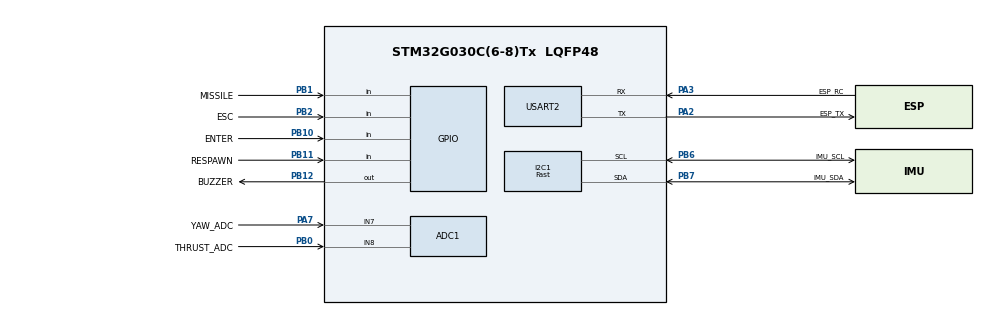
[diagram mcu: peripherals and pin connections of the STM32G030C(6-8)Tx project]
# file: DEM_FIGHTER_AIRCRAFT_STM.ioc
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ADC1.Channel-0\#ChannelRegularConversion=ADC_CHANNEL_7
ADC1.Channel-3\#ChannelRegularConversion=ADC_CHANNEL_8
ADC1.ClockPrescaler=ADC_CLOCK_SYNC_PCLK_DIV4
ADC1.NbrOfConversion=2
ADC1.NbrOfConversionFlag=1
ADC1.Rank-0\#ChannelRegularConversion=1
ADC1.Rank-3\#ChannelRegularConversion=2
ADC1.SamplingTime-0\#ChannelRegularConversion=ADC_SAMPLINGTIME_COMMON_1
ADC1.SamplingTime-3\#ChannelRegularConversion=ADC_SAMPLINGTIME_COMMON_1
ADC1.SamplingTimeCommon1=ADC_SAMPLETIME_79CYCLES_5
ADC1.SamplingTimeCommon2=ADC_SAMPLETIME_160CYCLES_5
ADC1.SelectedChannel=ADC_CHANNEL_7|ADC_CHANNEL_8
ADC1.master=1
FREERTOS.Tasks01=UARTTask,24,128,StartUARTTask,Default,NULL,Dynamic,NULL,NULL;SensorTask,32,128,StartSensorTask,Default,NULL,Dynamic,NULL,NULL
FREERTOS.configTOTAL_HEAP_SIZE=2048
FREERTOS.configUSE_NEWLIB_REENTRANT=1
I2C1.I2C_Speed_Mode=I2C_Fast
I2C1.Timing=0x00C12166
Mcu.Family=STM32G0
Mcu.Name=STM32G030C(6-8)Tx
Mcu.Package=LQFP48
NVIC.TIM16_IRQn=true\:3\:0\:false\:false\:true\:false\:false\:true\:true
NVIC.TimeBase=TIM16_IRQn
NVIC.TimeBaseIP=TIM16
PA13.Mode=Serial_Wire
PA13.Signal=SYS_SWDIO
PA14-BOOT0.Mode=Serial_Wire
PA14-BOOT0.Signal=SYS_SWCLK
PA2.GPIO_Label=ESP_TX
PA2.Mode=Asynchronous
PA2.Signal=USART2_TX
PA3.GPIO_Label=ESP_RC
PA3.Mode=Asynchronous
PA3.Signal=USART2_RX
PA7.GPIO_Label=YAW_ADC
PA7.Mode=IN7
PA7.Signal=ADC1_IN7
PB0.GPIO_Label=THRUST_ADC
PB0.Mode=IN8
PB0.Signal=ADC1_IN8
PB1.GPIO_Label=MISSILE
PB1.GPIO_PuPd=GPIO_PULLUP
PB1.Signal=GPIO_Input
PB10.GPIO_Label=ENTER
PB10.GPIO_PuPd=GPIO_PULLUP
PB10.Signal=GPIO_Input
PB11.GPIO_Label=RESPAWN
PB11.GPIO_PuPd=GPIO_PULLUP
PB11.Signal=GPIO_Input
PB12.GPIO_Label=BUZZER
PB12.Signal=GPIO_Output
PB2.GPIO_Label=ESC
PB2.GPIO_PuPd=GPIO_PULLUP
PB2.Signal=GPIO_Input
PB6.GPIO_Label=IMU_SCL
PB6.Mode=I2C
PB6.Signal=I2C1_SCL
PB7.GPIO_Label=IMU_SDA
PB7.Mode=I2C
PB7.Signal=I2C1_SDA
PF0-OSC_IN\ (PF0).Mode=HSE-External-Oscillator
PF0-OSC_IN\ (PF0).Signal=RCC_OSC_IN
PF1-OSC_OUT\ (PF1).Mode=HSE-External-Oscillator
PF1-OSC_OUT\ (PF1).Signal=RCC_OSC_OUT
ProjectManager.HeapSize=0x200
ProjectManager.StackSize=0x400
ProjectManager.TargetToolchain=STM32CubeIDE
RCC.ADCFreq_Value=64000000
RCC.AHBFreq_Value=64000000
RCC.CortexFreq_Value=64000000
RCC.EXTERNAL_CLOCK_VALUE=12288000
RCC.HCLKFreq_Value=64000000
RCC.HSE_VALUE=8000000
RCC.HSI_VALUE=16000000
RCC.LSE_VALUE=32768
RCC.SYSCLKFreq_VALUE=64000000
RCC.SYSCLKSource=RCC_SYSCLKSOURCE_PLLCLK
RCC.VCOOutputFreq_Value=128000000
USART2.VirtualMode-Asynchronous=VM_ASYNC
VP_FREERTOS_VS_CMSIS_V2.Mode=CMSIS_V2
VP_SYS_VS_tim16.Mode=TIM16
board=custom

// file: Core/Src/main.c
/* USER CODE BEGIN Header */
/**
  ******************************************************************************
  * @file           : main.c
  * @brief          : Flight Controller / Telemetry Transmitter Main Body
  * @project        : STM32 Drone/Simulator Controller
  * @author         : hrnkrc
  * @date           : December 2025
  * @description    : Implements a FreeRTOS-based Flight Control System.
  * - IMU Processing: LIS2DW12 (Accelerometer) for Pitch/Roll detection.
  * - Analog Input: ADC DMA/Polling for Yaw and Throttle control.
  * - Telemetry: 20Hz UART stream to ESP32/PC ($P,R,Y,T...).
  * - OS: CMSIS-RTOS V2 (FreeRTOS).
  ******************************************************************************
  */
/* USER CODE END Header */
#include "main.h"
#include "cmsis_os.h"

/* USER CODE BEGIN Includes */
#include "lis2dw12_reg.h"  // IMU Driver
#include <stdio.h>
#include <string.h>
#include <math.h>
/* USER CODE END Includes */

/* USER CODE BEGIN PTD */
/**
 * @brief Flight Control Data Structure
 * Encapsulates the state of all aircraft controls to be transmitted via telemetry.
 */
typedef struct {
	int8_t pitch_cmd; /*!< 0: Neutral, 1: Nose Down (W), 2: Nose Up (S) */
	int8_t roll_cmd; /*!< 0: Neutral, 1: Bank Left (A), 2: Bank Right (D) */
	int8_t yaw_cmd; /*!< 0: Neutral, 1: Rudder Left (Q), 2: Rudder Right (E) */
	int8_t throttle_cmd; /*!< 0: Hold, 1: Increase (Shift), 2: Decrease (Ctrl) */
	uint8_t btn_space; /*!< 1: Active, 0: Inactive */
	uint8_t btn_esc; /*!< 1: Active, 0: Inactive */
	uint8_t btn_respawn; /*!< 1: Active, 0: Inactive */
	uint8_t btn_enter; /*!< 1: Active, 0: Inactive */
} FlightControlState_t;
/* USER CODE END PTD */

/* USER CODE BEGIN PD */
/* * I2C Address: 0x19 (Standard) shifted left by 1 for LL API.
 * If sensor doesn't work, try (0x18U << 1).
 */
#define SENSOR_I2C_ADDR  (0x19U << 1)
#define I2C_TIMEOUT      10000        // Timeout counter to prevent freezing
/* USER CODE END PD */

/* Definitions for UARTTask */
osThreadId_t UARTTaskHandle;
const osThreadAttr_t UARTTask_attributes = {
  .name = "UARTTask",
  .priority = (osPriority_t) osPriorityNormal,
  .stack_size = 128 * 4
};
/* Definitions for SensorTask */
osThreadId_t SensorTaskHandle;
const osThreadAttr_t SensorTask_attributes = {
  .name = "SensorTask",
  .priority = (osPriority_t) osPriorityAboveNormal,
  .stack_size = 128 * 4
};
/* USER CODE BEGIN PV */
FlightControlState_t flightControlState; /* Global State to be sent to ESP32 */
stmdev_ctx_t imu_ctx; /* IMU Driver Context */
static int16_t imu_raw_data[3]; /* Raw Acceleration Data */
static uint8_t sensor_id; /* Chip ID for verification */
uint16_t val_yaw, val_thr;
/* USER CODE END PV */

void SystemClock_Config(void);
static void MX_GPIO_Init(void);
static void MX_ADC1_Init(void);
static void MX_I2C1_Init(void);
static void MX_USART2_UART_Init(void);
void StartUARTTask(void *argument);
void StartSensorTask(void *argument);

/* USER CODE BEGIN PFP */
/* Safe Low-Layer Driver Wrappers */
int32_t Platform_I2C_Write(void *handle, uint8_t reg, const uint8_t *bufp,
		uint16_t len);
int32_t Platform_I2C_Read(void *handle, uint8_t reg, uint8_t *bufp,
		uint16_t len);
uint16_t Platform_ADC_Read(ADC_TypeDef *ADCx, uint32_t Channel);

/* Helper */
int Fast_IntToStr(char *buf, int value);
/* USER CODE END PFP */

/* USER CODE BEGIN 0 */
/**
 * @brief Robust I2C Write with Timeout.
 * Returns -1 if hardware freezes, preventing system watchdog reset.
 */
int32_t Platform_I2C_Write(void *handle, uint8_t reg, const uint8_t *bufp, uint16_t len) {
    I2C_TypeDef *I2Cx = (I2C_TypeDef*) handle;
    uint32_t timeout = I2C_TIMEOUT;

    LL_I2C_HandleTransfer(I2Cx, SENSOR_I2C_ADDR, LL_I2C_ADDRSLAVE_7BIT, len + 1,
            LL_I2C_MODE_AUTOEND, LL_I2C_GENERATE_START_WRITE);

    while (!LL_I2C_IsActiveFlag_TXIS(I2Cx)) {
        if (timeout-- == 0) return -1;
    }
    LL_I2C_TransmitData8(I2Cx, reg);

    for (uint16_t i = 0; i < len; i++) {
        timeout = I2C_TIMEOUT;
        while (!LL_I2C_IsActiveFlag_TXIS(I2Cx)) {
            if (timeout-- == 0) return -1;
        }
        LL_I2C_TransmitData8(I2Cx, bufp[i]);
    }

    timeout = I2C_TIMEOUT;
    while (!LL_I2C_IsActiveFlag_STOP(I2Cx)) {
        if (timeout-- == 0) return -1;
    }
    LL_I2C_ClearFlag_STOP(I2Cx);
    return 0;
}

/**
 * @brief Robust I2C Read with Timeout.
 */
int32_t Platform_I2C_Read(void *handle, uint8_t reg, uint8_t *bufp, uint16_t len) {
    I2C_TypeDef *I2Cx = (I2C_TypeDef*) handle;
    uint32_t timeout = I2C_TIMEOUT;

    LL_I2C_HandleTransfer(I2Cx, SENSOR_I2C_ADDR, LL_I2C_ADDRSLAVE_7BIT, 1,
            LL_I2C_MODE_SOFTEND, LL_I2C_GENERATE_START_WRITE);

    while (!LL_I2C_IsActiveFlag_TXIS(I2Cx)) {
        if (timeout-- == 0) return -1;
    }
    LL_I2C_TransmitData8(I2Cx, reg);

    while (!LL_I2C_IsActiveFlag_TC(I2Cx)) {
        if (timeout-- == 0) return -1;
    }

    LL_I2C_HandleTransfer(I2Cx, SENSOR_I2C_ADDR, LL_I2C_ADDRSLAVE_7BIT, len,
            LL_I2C_MODE_AUTOEND, LL_I2C_GENERATE_START_READ);

    for (uint16_t i = 0; i < len; i++) {
        timeout = I2C_TIMEOUT;
        while (!LL_I2C_IsActiveFlag_RXNE(I2Cx)) {
            if (timeout-- == 0) return -1;
        }
        bufp[i] = LL_I2C_ReceiveData8(I2Cx);
    }

    timeout = I2C_TIMEOUT;
    while (!LL_I2C_IsActiveFlag_STOP(I2Cx)) {
        if (timeout-- == 0) return -1;
    }
    LL_I2C_ClearFlag_STOP(I2Cx);
    return 0;
}

/**
 * @brief Reads all configured ADC channels sequentially.
 * Sequence: Rank 1: Yaw (Ch 7) -> Rank 2: Thrust (Ch 8)
 */
void Update_ADC_Values(void) {
    /* 1. Start Conversion (Sequencer automatically starts from Rank 1) */
    LL_ADC_REG_StartConversion(ADC1);

    /* 2. Wait and read Rank 1 (Yaw) */
    while (!LL_ADC_IsActiveFlag_EOC(ADC1));
    val_yaw = LL_ADC_REG_ReadConversionData12(ADC1); /* EOC flag is cleared upon reading */

    /* 3. Wait and read Rank 2 (Thrust) */
    while (!LL_ADC_IsActiveFlag_EOC(ADC1));
    val_thr = LL_ADC_REG_ReadConversionData12(ADC1);

    /* 4. Ensure the Sequence is fully complete (Optional but safe) */
    while (!LL_ADC_IsActiveFlag_EOS(ADC1));
    LL_ADC_ClearFlag_EOS(ADC1);
}

/* Fast Integer to String Converter (Optimized for Telemetry) */
int Fast_IntToStr(char *buf, int value) {
    char *p = buf;
    if (value < 0) {
        *p++ = '-';
        value = -value;
    }
    char *first = p;
    do {
        int digit = value % 10;
        *p++ = (char) (digit + '0');
        value /= 10;
    } while (value > 0);
    char *last = p - 1;
    while (first < last) {
        char temp = *first;
        *first++ = *last;
        *last-- = temp;
    }
    return (int) (p - buf);
}
/* USER CODE END 0 */

int main(void)
{

  /* MCU Configuration--------------------------------------------------------*/

  /* Reset of all peripherals, Initializes the Flash interface and the Systick. */
  HAL_Init();

  /* Configure the system clock */
  SystemClock_Config();

  /* Initialize all configured peripherals */
  MX_GPIO_Init();
  MX_ADC1_Init();
  MX_I2C1_Init();
  MX_USART2_UART_Init();

  /* Init scheduler */
  osKernelInitialize();

  /* Create the thread(s) */
  /* creation of UARTTask */
  UARTTaskHandle = osThreadNew(StartUARTTask, NULL, &UARTTask_attributes);

  /* creation of SensorTask */
  SensorTaskHandle = osThreadNew(StartSensorTask, NULL, &SensorTask_attributes);

  /* Start scheduler */
  osKernelStart();

  /* We should never get here as control is now taken by the scheduler */

  /* Infinite loop */
	while (1) {

	}
}

void SystemClock_Config(void)
{
  LL_FLASH_SetLatency(LL_FLASH_LATENCY_2);
  while(LL_FLASH_GetLatency() != LL_FLASH_LATENCY_2)
  {
  }

  /* HSI configuration and activation */
  LL_RCC_HSI_Enable();
  while(LL_RCC_HSI_IsReady() != 1)
  {
  }

  /* Main PLL configuration and activation */
  LL_RCC_PLL_ConfigDomain_SYS(LL_RCC_PLLSOURCE_HSI, LL_RCC_PLLM_DIV_1, 8, LL_RCC_PLLR_DIV_2);
  LL_RCC_PLL_Enable();
  LL_RCC_PLL_EnableDomain_SYS();
  while(LL_RCC_PLL_IsReady() != 1)
  {
  }

  /* Set AHB prescaler*/
  LL_RCC_SetAHBPrescaler(LL_RCC_SYSCLK_DIV_1);

  /* Sysclk activation on the main PLL */
  LL_RCC_SetSysClkSource(LL_RCC_SYS_CLKSOURCE_PLL);
  while(LL_RCC_GetSysClkSource() != LL_RCC_SYS_CLKSOURCE_STATUS_PLL)
  {
  }

  /* Set APB1 prescaler*/
  LL_RCC_SetAPB1Prescaler(LL_RCC_APB1_DIV_1);
  /* Update CMSIS variable (which can be updated also through SystemCoreClockUpdate function) */
  LL_SetSystemCoreClock(64000000);

   /* Update the time base */
  if (HAL_InitTick (TICK_INT_PRIORITY) != HAL_OK)
  {
    Error_Handler();
  }
}

static void MX_ADC1_Init(void)
{

  LL_ADC_InitTypeDef ADC_InitStruct = {0};
  LL_ADC_REG_InitTypeDef ADC_REG_InitStruct = {0};

  LL_GPIO_InitTypeDef GPIO_InitStruct = {0};

  /* Peripheral clock enable */
  LL_APB2_GRP1_EnableClock(LL_APB2_GRP1_PERIPH_ADC);

  LL_IOP_GRP1_EnableClock(LL_IOP_GRP1_PERIPH_GPIOA);
  LL_IOP_GRP1_EnableClock(LL_IOP_GRP1_PERIPH_GPIOB);
  /**ADC1 GPIO Configuration
  PA7   ------> ADC1_IN7
  PB0   ------> ADC1_IN8
  */
  GPIO_InitStruct.Pin = YAW_ADC_Pin;
  GPIO_InitStruct.Mode = LL_GPIO_MODE_ANALOG;
  GPIO_InitStruct.Pull = LL_GPIO_PULL_NO;
  LL_GPIO_Init(YAW_ADC_GPIO_Port, &GPIO_InitStruct);

  GPIO_InitStruct.Pin = THRUST_ADC_Pin;
  GPIO_InitStruct.Mode = LL_GPIO_MODE_ANALOG;
  GPIO_InitStruct.Pull = LL_GPIO_PULL_NO;
  LL_GPIO_Init(THRUST_ADC_GPIO_Port, &GPIO_InitStruct);

  /** Configure the global features of the ADC (Clock, Resolution, Data Alignment and number of conversion)
  */

   #define ADC_CHANNEL_CONF_RDY_TIMEOUT_MS ( 1U)
   #if (USE_TIMEOUT == 1)
   uint32_t Timeout ; /* Variable used for Timeout management */
   #endif /* USE_TIMEOUT */

  ADC_InitStruct.Clock = LL_ADC_CLOCK_SYNC_PCLK_DIV2;
  ADC_InitStruct.Resolution = LL_ADC_RESOLUTION_12B;
  ADC_InitStruct.DataAlignment = LL_ADC_DATA_ALIGN_RIGHT;
  ADC_InitStruct.LowPowerMode = LL_ADC_LP_MODE_NONE;
  LL_ADC_Init(ADC1, &ADC_InitStruct);
  LL_ADC_REG_SetSequencerConfigurable(ADC1, LL_ADC_REG_SEQ_CONFIGURABLE);

   /* Poll for ADC channel configuration ready */
   #if (USE_TIMEOUT == 1)
   Timeout = ADC_CHANNEL_CONF_RDY_TIMEOUT_MS;
   #endif /* USE_TIMEOUT */
   while (LL_ADC_IsActiveFlag_CCRDY(ADC1) == 0)
     {
   #if (USE_TIMEOUT == 1)
   /* Check Systick counter flag to decrement the time-out value */
   if (LL_SYSTICK_IsActiveCounterFlag())
     {
   if(Timeout-- == 0)
         {
   Error_Handler();
         }
     }
   #endif /* USE_TIMEOUT */
     }
   /* Clear flag ADC channel configuration ready */
   LL_ADC_ClearFlag_CCRDY(ADC1);
  ADC_REG_InitStruct.TriggerSource = LL_ADC_REG_TRIG_SOFTWARE;
  ADC_REG_InitStruct.SequencerLength = LL_ADC_REG_SEQ_SCAN_ENABLE_2RANKS;
  ADC_REG_InitStruct.SequencerDiscont = LL_ADC_REG_SEQ_DISCONT_DISABLE;
  ADC_REG_InitStruct.ContinuousMode = LL_ADC_REG_CONV_SINGLE;
  ADC_REG_InitStruct.DMATransfer = LL_ADC_REG_DMA_TRANSFER_NONE;
  ADC_REG_InitStruct.Overrun = LL_ADC_REG_OVR_DATA_PRESERVED;
  LL_ADC_REG_Init(ADC1, &ADC_REG_InitStruct);
  LL_ADC_SetOverSamplingScope(ADC1, LL_ADC_OVS_DISABLE);
  LL_ADC_SetTriggerFrequencyMode(ADC1, LL_ADC_CLOCK_FREQ_MODE_HIGH);
  LL_ADC_SetSamplingTimeCommonChannels(ADC1, LL_ADC_SAMPLINGTIME_COMMON_1, LL_ADC_SAMPLINGTIME_39CYCLES_5);
  LL_ADC_SetSamplingTimeCommonChannels(ADC1, LL_ADC_SAMPLINGTIME_COMMON_2, LL_ADC_SAMPLINGTIME_39CYCLES_5);
  LL_ADC_DisableIT_EOC(ADC1);
  LL_ADC_DisableIT_EOS(ADC1);

   /* Enable ADC internal voltage regulator */
   LL_ADC_EnableInternalRegulator(ADC1);
   /* Delay for ADC internal voltage regulator stabilization. */
   /* Compute number of CPU cycles to wait for, from delay in us. */
   /* Note: Variable divided by 2 to compensate partially */
   /* CPU processing cycles (depends on compilation optimization). */
   /* Note: If system core clock frequency is below 200kHz, wait time */
   /* is only a few CPU processing cycles. */
   __IO uint32_t wait_loop_index;
   wait_loop_index = ((LL_ADC_DELAY_INTERNAL_REGUL_STAB_US * (SystemCoreClock / (100000 * 2))) / 10);
   while(wait_loop_index != 0)
     {
   wait_loop_index--;
     }

  /** Configure Regular Channel
  */
  LL_ADC_REG_SetSequencerRanks(ADC1, LL_ADC_REG_RANK_1, LL_ADC_CHANNEL_7);

   /* Poll for ADC channel configuration ready */
   #if (USE_TIMEOUT == 1)
   Timeout = ADC_CHANNEL_CONF_RDY_TIMEOUT_MS;
   #endif /* USE_TIMEOUT */
   while (LL_ADC_IsActiveFlag_CCRDY(ADC1) == 0)
     {
   #if (USE_TIMEOUT == 1)
   /* Check Systick counter flag to decrement the time-out value */
   if (LL_SYSTICK_IsActiveCounterFlag())
     {
   if(Timeout-- == 0)
         {
   Error_Handler();
         }
     }
   #endif /* USE_TIMEOUT */
     }
   /* Clear flag ADC channel configuration ready */
   LL_ADC_ClearFlag_CCRDY(ADC1);
  LL_ADC_SetChannelSamplingTime(ADC1, LL_ADC_CHANNEL_7, LL_ADC_SAMPLINGTIME_COMMON_1);

  /** Configure Regular Channel
  */
  LL_ADC_REG_SetSequencerRanks(ADC1, LL_ADC_REG_RANK_2, LL_ADC_CHANNEL_8);

   /* Poll for ADC channel configuration ready */
   #if (USE_TIMEOUT == 1)
   Timeout = ADC_CHANNEL_CONF_RDY_TIMEOUT_MS;
   #endif /* USE_TIMEOUT */
   while (LL_ADC_IsActiveFlag_CCRDY(ADC1) == 0)
     {
   #if (USE_TIMEOUT == 1)
   /* Check Systick counter flag to decrement the time-out value */
   if (LL_SYSTICK_IsActiveCounterFlag())
     {
   if(Timeout-- == 0)
         {
   Error_Handler();
         }
     }
   #endif /* USE_TIMEOUT */
     }
   /* Clear flag ADC channel configuration ready */
   LL_ADC_ClearFlag_CCRDY(ADC1);
  LL_ADC_SetChannelSamplingTime(ADC1, LL_ADC_CHANNEL_8, LL_ADC_SAMPLINGTIME_COMMON_1);

}

static void MX_I2C1_Init(void)
{

  LL_I2C_InitTypeDef I2C_InitStruct = {0};

  LL_GPIO_InitTypeDef GPIO_InitStruct = {0};

  LL_RCC_SetI2CClockSource(LL_RCC_I2C1_CLKSOURCE_PCLK1);

  LL_IOP_GRP1_EnableClock(LL_IOP_GRP1_PERIPH_GPIOB);
  /**I2C1 GPIO Configuration
  PB6   ------> I2C1_SCL
  PB7   ------> I2C1_SDA
  */
  GPIO_InitStruct.Pin = IMU_SCL_Pin;
  GPIO_InitStruct.Mode = LL_GPIO_MODE_ALTERNATE;
  GPIO_InitStruct.Speed = LL_GPIO_SPEED_FREQ_LOW;
  GPIO_InitStruct.OutputType = LL_GPIO_OUTPUT_OPENDRAIN;
  GPIO_InitStruct.Pull = LL_GPIO_PULL_NO;
  GPIO_InitStruct.Alternate = LL_GPIO_AF_6;
  LL_GPIO_Init(IMU_SCL_GPIO_Port, &GPIO_InitStruct);

  GPIO_InitStruct.Pin = IMU_SDA_Pin;
  GPIO_InitStruct.Mode = LL_GPIO_MODE_ALTERNATE;
  GPIO_InitStruct.Speed = LL_GPIO_SPEED_FREQ_LOW;
  GPIO_InitStruct.OutputType = LL_GPIO_OUTPUT_OPENDRAIN;
  GPIO_InitStruct.Pull = LL_GPIO_PULL_NO;
  GPIO_InitStruct.Alternate = LL_GPIO_AF_6;
  LL_GPIO_Init(IMU_SDA_GPIO_Port, &GPIO_InitStruct);

  /* Peripheral clock enable */
  LL_APB1_GRP1_EnableClock(LL_APB1_GRP1_PERIPH_I2C1);

  /** I2C Initialization
  */
  I2C_InitStruct.PeripheralMode = LL_I2C_MODE_I2C;
  I2C_InitStruct.Timing = 0x00C12166;
  I2C_InitStruct.AnalogFilter = LL_I2C_ANALOGFILTER_ENABLE;
  I2C_InitStruct.DigitalFilter = 0;
  I2C_InitStruct.OwnAddress1 = 0;
  I2C_InitStruct.TypeAcknowledge = LL_I2C_ACK;
  I2C_InitStruct.OwnAddrSize = LL_I2C_OWNADDRESS1_7BIT;
  LL_I2C_Init(I2C1, &I2C_InitStruct);
  LL_I2C_EnableAutoEndMode(I2C1);
  LL_I2C_SetOwnAddress2(I2C1, 0, LL_I2C_OWNADDRESS2_NOMASK);
  LL_I2C_DisableOwnAddress2(I2C1);
  LL_I2C_DisableGeneralCall(I2C1);
  LL_I2C_EnableClockStretching(I2C1);

}

static void MX_USART2_UART_Init(void)
{

  LL_USART_InitTypeDef USART_InitStruct = {0};

  LL_GPIO_InitTypeDef GPIO_InitStruct = {0};

  /* Peripheral clock enable */
  LL_APB1_GRP1_EnableClock(LL_APB1_GRP1_PERIPH_USART2);

  LL_IOP_GRP1_EnableClock(LL_IOP_GRP1_PERIPH_GPIOA);
  /**USART2 GPIO Configuration
  PA2   ------> USART2_TX
  PA3   ------> USART2_RX
  */
  GPIO_InitStruct.Pin = ESP_TX_Pin;
  GPIO_InitStruct.Mode = LL_GPIO_MODE_ALTERNATE;
  GPIO_InitStruct.Speed = LL_GPIO_SPEED_FREQ_LOW;
  GPIO_InitStruct.OutputType = LL_GPIO_OUTPUT_PUSHPULL;
  GPIO_InitStruct.Pull = LL_GPIO_PULL_NO;
  GPIO_InitStruct.Alternate = LL_GPIO_AF_1;
  LL_GPIO_Init(ESP_TX_GPIO_Port, &GPIO_InitStruct);

  GPIO_InitStruct.Pin = ESP_RC_Pin;
  GPIO_InitStruct.Mode = LL_GPIO_MODE_ALTERNATE;
  GPIO_InitStruct.Speed = LL_GPIO_SPEED_FREQ_LOW;
  GPIO_InitStruct.OutputType = LL_GPIO_OUTPUT_PUSHPULL;
  GPIO_InitStruct.Pull = LL_GPIO_PULL_NO;
  GPIO_InitStruct.Alternate = LL_GPIO_AF_1;
  LL_GPIO_Init(ESP_RC_GPIO_Port, &GPIO_InitStruct);

  USART_InitStruct.PrescalerValue = LL_USART_PRESCALER_DIV1;
  USART_InitStruct.BaudRate = 115200;
  USART_InitStruct.DataWidth = LL_USART_DATAWIDTH_8B;
  USART_InitStruct.StopBits = LL_USART_STOPBITS_1;
  USART_InitStruct.Parity = LL_USART_PARITY_NONE;
  USART_InitStruct.TransferDirection = LL_USART_DIRECTION_TX_RX;
  USART_InitStruct.HardwareFlowControl = LL_USART_HWCONTROL_NONE;
  USART_InitStruct.OverSampling = LL_USART_OVERSAMPLING_16;
  LL_USART_Init(USART2, &USART_InitStruct);
  LL_USART_ConfigAsyncMode(USART2);

  LL_USART_Enable(USART2);

  /* Polling USART2 initialisation */
  while((!(LL_USART_IsActiveFlag_TEACK(USART2))) || (!(LL_USART_IsActiveFlag_REACK(USART2))))
  {
  }

}

static void MX_GPIO_Init(void)
{
  LL_GPIO_InitTypeDef GPIO_InitStruct = {0};

  /* GPIO Ports Clock Enable */
  LL_IOP_GRP1_EnableClock(LL_IOP_GRP1_PERIPH_GPIOF);
  LL_IOP_GRP1_EnableClock(LL_IOP_GRP1_PERIPH_GPIOA);
  LL_IOP_GRP1_EnableClock(LL_IOP_GRP1_PERIPH_GPIOB);

  /**/
  LL_GPIO_ResetOutputPin(BUZZER_GPIO_Port, BUZZER_Pin);

  /**/
  GPIO_InitStruct.Pin = MISSILE_Pin;
  GPIO_InitStruct.Mode = LL_GPIO_MODE_INPUT;
  GPIO_InitStruct.Pull = LL_GPIO_PULL_UP;
  LL_GPIO_Init(MISSILE_GPIO_Port, &GPIO_InitStruct);

  /**/
  GPIO_InitStruct.Pin = ESC_Pin;
  GPIO_InitStruct.Mode = LL_GPIO_MODE_INPUT;
  GPIO_InitStruct.Pull = LL_GPIO_PULL_UP;
  LL_GPIO_Init(ESC_GPIO_Port, &GPIO_InitStruct);

  /**/
  GPIO_InitStruct.Pin = ENTER_Pin;
  GPIO_InitStruct.Mode = LL_GPIO_MODE_INPUT;
  GPIO_InitStruct.Pull = LL_GPIO_PULL_UP;
  LL_GPIO_Init(ENTER_GPIO_Port, &GPIO_InitStruct);

  /**/
  GPIO_InitStruct.Pin = RESPAWN_Pin;
  GPIO_InitStruct.Mode = LL_GPIO_MODE_INPUT;
  GPIO_InitStruct.Pull = LL_GPIO_PULL_UP;
  LL_GPIO_Init(RESPAWN_GPIO_Port, &GPIO_InitStruct);

  /**/
  GPIO_InitStruct.Pin = BUZZER_Pin;
  GPIO_InitStruct.Mode = LL_GPIO_MODE_OUTPUT;
  GPIO_InitStruct.Speed = LL_GPIO_SPEED_FREQ_LOW;
  GPIO_InitStruct.OutputType = LL_GPIO_OUTPUT_PUSHPULL;
  GPIO_InitStruct.Pull = LL_GPIO_PULL_NO;
  LL_GPIO_Init(BUZZER_GPIO_Port, &GPIO_InitStruct);

}

/* USER CODE BEGIN Header_StartUARTTask */
/**
 * @brief  Telemetry Transmission Task.
 * - Priority: Normal
 * - Frequency: 20Hz (50ms)
 * - Mode: Continuous Stream (Snapshot)
 * - Responsibilities: Serialize state data and transmit via UART.
 */
/* USER CODE END Header_StartUARTTask */
void StartUARTTask(void *argument)
{
  /* USER CODE BEGIN 5 */
	char tx_buffer[64];
	char *ptr;

	/* Infinite loop */
	for (;;) {
		/* 1. Build Packet: $P,R,Y,T,M,E,ENT,R# */
		ptr = tx_buffer;
		*ptr++ = '$';
		ptr += Fast_IntToStr(ptr, flightControlState.pitch_cmd);
		*ptr++ = ',';
		ptr += Fast_IntToStr(ptr, flightControlState.roll_cmd);
		*ptr++ = ',';
		ptr += Fast_IntToStr(ptr, flightControlState.yaw_cmd);
		*ptr++ = ',';
		ptr += Fast_IntToStr(ptr, flightControlState.throttle_cmd);
		*ptr++ = ',';
		ptr += Fast_IntToStr(ptr, flightControlState.btn_space);
		*ptr++ = ',';
		ptr += Fast_IntToStr(ptr, flightControlState.btn_esc);
		*ptr++ = ',';
		ptr += Fast_IntToStr(ptr, flightControlState.btn_enter);
		*ptr++ = ',';
		ptr += Fast_IntToStr(ptr, flightControlState.btn_respawn);
		*ptr++ = '#';
		*ptr++ = '\n';
		*ptr = 0;

		/* 2. Transmit to ESP32 (USART2) */
		char *send_ptr = tx_buffer;
		while (*send_ptr) {
			while (!LL_USART_IsActiveFlag_TXE_TXFNF(USART2))
				;
			LL_USART_TransmitData8(USART2, *send_ptr++);
		}

		/* 3. Maintain Rate (20Hz) */
		osDelay(50);
	}
  /* USER CODE END 5 */
}

/* USER CODE BEGIN Header_StartSensorTask */
/**
 * @brief  Primary Sensor Acquisition Task.
 * - Priority: High (AboveNormal)
 * - Frequency: 50Hz (20ms)
 * - Responsibilities:
 * 1. Trigger ADC via DMA (Normal Mode).
 * 2. Poll IMU Data via I2C.
 * 3. Poll GPIO Buttons (Software Debounce).
 * 4. Update Global Flight Control State.
 */
void StartSensorTask(void *argument) {
	/* --- 1. Driver Initialization --- */
	imu_ctx.write_reg = Platform_I2C_Write;
	imu_ctx.read_reg = Platform_I2C_Read;
	imu_ctx.handle = I2C1;

	/* --- B. IMU Setup (Robust) --- */
	// Check ID to confirm connection
	lis2dw12_device_id_get(&imu_ctx, &sensor_id);

	// Settings from Reference Project (2g, 25Hz, HighPerformance)
	lis2dw12_reset_set(&imu_ctx, PROPERTY_ENABLE);
	osDelay(20);
	lis2dw12_block_data_update_set(&imu_ctx, PROPERTY_ENABLE);
	lis2dw12_full_scale_set(&imu_ctx, LIS2DW12_2g);
	lis2dw12_filter_path_set(&imu_ctx, LIS2DW12_LPF_ON_OUT);
	lis2dw12_filter_bandwidth_set(&imu_ctx, LIS2DW12_ODR_DIV_4);
	lis2dw12_power_mode_set(&imu_ctx, LIS2DW12_HIGH_PERFORMANCE);
	lis2dw12_data_rate_set(&imu_ctx, LIS2DW12_XL_ODR_25Hz);

	/* --- C. ADC Calibration --- */
	if (!LL_ADC_IsEnabled(ADC1)) {
		LL_ADC_EnableInternalRegulator(ADC1);
		osDelay(25);
		LL_ADC_StartCalibration(ADC1);
		while (LL_ADC_IsCalibrationOnGoing(ADC1))
			;
		LL_ADC_Enable(ADC1);
		while (!LL_ADC_IsActiveFlag_ADRDY(ADC1))
			;
	}

	/* --- D. Main Loop --- */
	for (;;) {
		/* 1. Read IMU (Polling) */
		uint8_t drdy = 0;
		lis2dw12_flag_data_ready_get(&imu_ctx, &drdy);

		if (drdy) {
			memset(imu_raw_data, 0, sizeof(imu_raw_data));
			if (lis2dw12_acceleration_raw_get(&imu_ctx, imu_raw_data) == 0) {

				// Convert to mg
				float acc_x = lis2dw12_from_fs2_to_mg(imu_raw_data[0]);
				float acc_y = lis2dw12_from_fs2_to_mg(imu_raw_data[1]);

				// Logic: Threshold 300mg
				// Pitch (Y)
				if (acc_y > 300.0f)
					flightControlState.roll_cmd = 1;
				else if (acc_y < -300.0f)
					flightControlState.roll_cmd = 2;
				else
					flightControlState.roll_cmd = 0;

				// Roll (X)
				if (acc_x > 300.0f)
					flightControlState.pitch_cmd = 2;
				else if (acc_x < -300.0f)
					flightControlState.pitch_cmd = 1;
				else
					flightControlState.pitch_cmd = 0;
			}
		}

		/* 2. Read ADC (Yaw & Throttle) */
		Update_ADC_Values(); // Her iki değeri de tek seferde günceller

		// Yaw Mantığı (val_yaw artık güncel)
		if (val_yaw < 1000) flightControlState.yaw_cmd = 1;
		else if (val_yaw > 3000) flightControlState.yaw_cmd = 2;
		else flightControlState.yaw_cmd = 0;

		// Thrust Mantığı (val_thr artık güncel)
		if (val_thr > 3000) flightControlState.throttle_cmd = 1;
		else if (val_thr < 1000) flightControlState.throttle_cmd = 2;
		else flightControlState.throttle_cmd = 0;

		/* 3. Read Buttons (Inverted Logic) */
		flightControlState.btn_space = !LL_GPIO_IsInputPinSet(GPIOB,
				LL_GPIO_PIN_1);
		flightControlState.btn_esc = !LL_GPIO_IsInputPinSet(GPIOB,
				LL_GPIO_PIN_2);
		flightControlState.btn_respawn = !LL_GPIO_IsInputPinSet(GPIOB,
				LL_GPIO_PIN_10);
		flightControlState.btn_enter = !LL_GPIO_IsInputPinSet(GPIOB,
				LL_GPIO_PIN_11);

		/* 4. Yield (Important!) */
		osDelay(40); // 25Hz loop
	}
  /* USER CODE END StartSensorTask */
}

void HAL_TIM_PeriodElapsedCallback(TIM_HandleTypeDef *htim)
{
  if (htim->Instance == TIM16)
  {
    HAL_IncTick();
  }
}

void Error_Handler(void)
{
	__disable_irq();
	while (1) {
	}
}
